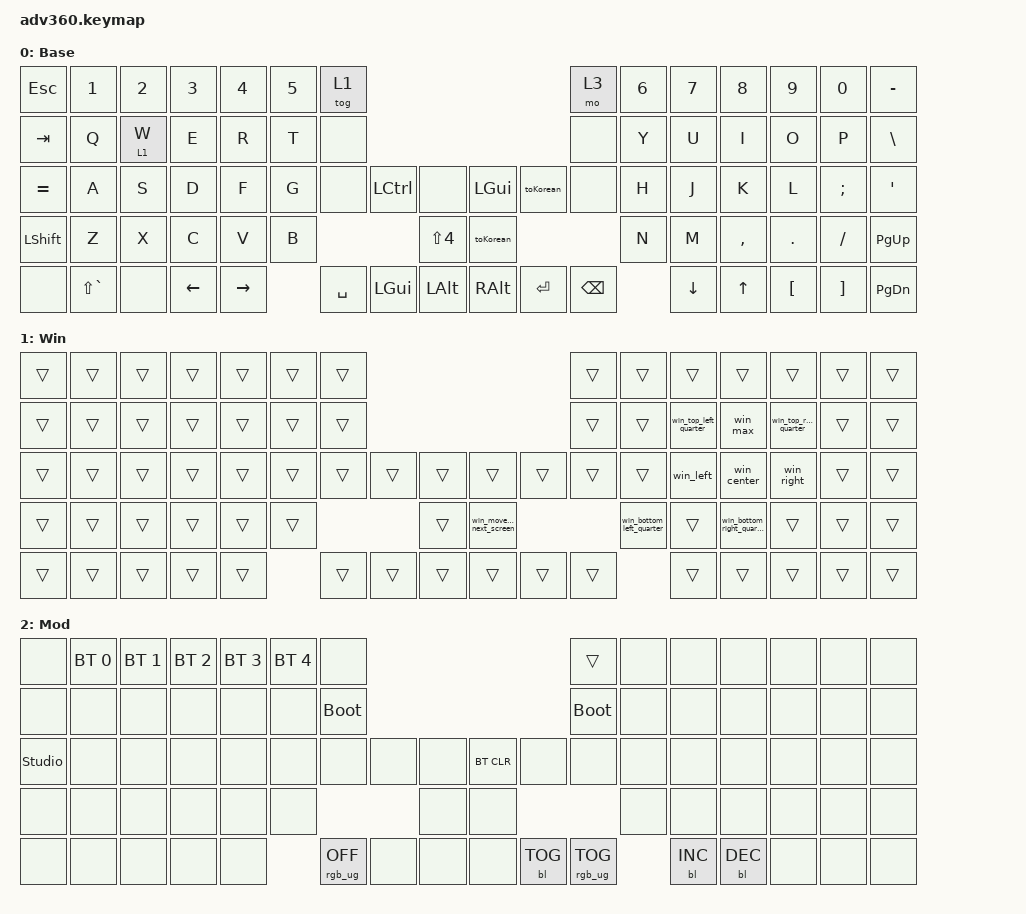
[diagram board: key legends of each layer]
#include <dt-bindings/zmk/stp.h>
#include <behaviors.dtsi>
#include <dt-bindings/zmk/backlight.h>
#include <dt-bindings/zmk/bt.h>
#include <dt-bindings/zmk/keys.h>
#include <dt-bindings/zmk/rgb.h>

/* Layout mirrored from Glove80 (Base + Windows layers).
 * The Glove80 top row (ESC/1-4 | F14/F15/media) is dropped;
 * its number row becomes the Adv360 top row.
 *
 * Mod layer (index 3, from stock) restored: hold &mo 3 on the top-center-right
 * key; top-center-left key is &tog 1 (toggles the Win layer).
 *
 * Thumb clusters (both keyboards have 6 keys per hand, mapped by position):
 *   left:  T1=$ -> inner-mid, T2=LCTRL -> mid-upper, T3=lower -> dropped (inner-upper, &none),
 *          T4=SPACE -> outer big, T5=LGUI -> mid-lower, T6=LALT -> inner-lower
 *   right: T1=toKorean -> inner-mid, T2=RCTRL -> mid-upper, T3=LGUI -> inner-upper,
 *          T4=BSPC -> outer big, T5=RET -> mid-lower, T6=RALT -> inner-lower
 */

/ {
    behaviors {
        #include "macros.dtsi"
      #include "version.dtsi"
    };

    macros {
        toKorean: toKorean {
            label = "toKorean";
            compatible = "zmk,behavior-macro";
            #binding-cells = <0>;
            bindings =
                <&macro_press>,
                <&kp LEFT_COMMAND>,
                <&macro_tap>,
                <&kp RIGHT>,
                <&macro_release>,
                <&kp LEFT_COMMAND>;
        };

        win_left: win_left {
            label = "win_left";
            compatible = "zmk,behavior-macro";
            #binding-cells = <0>;
            bindings =
                <&macro_press>,
                <&kp LEFT_COMMAND &kp LALT>,
                <&macro_tap>,
                <&kp LEFT>,
                <&macro_release>,
                <&kp LEFT_COMMAND &kp LALT>;
        };

        win_right: win_right {
            label = "win_right";
            compatible = "zmk,behavior-macro";
            #binding-cells = <0>;
            bindings =
                <&macro_press>,
                <&kp LEFT_COMMAND &kp LALT>,
                <&macro_tap>,
                <&kp RIGHT>,
                <&macro_release>,
                <&kp LEFT_COMMAND &kp LALT>;
        };

        win_center: win_center {
            label = "win_center";
            compatible = "zmk,behavior-macro";
            #binding-cells = <0>;
            bindings =
                <&macro_press>,
                <&kp LEFT_COMMAND &kp LALT>,
                <&macro_tap>,
                <&kp DOWN>,
                <&macro_release>,
                <&kp LEFT_COMMAND &kp LALT>;
        };

        win_max: win_max {
            label = "win_max";
            compatible = "zmk,behavior-macro";
            #binding-cells = <0>;
            bindings =
                <&macro_press>,
                <&kp LEFT_COMMAND &kp LALT>,
                <&macro_tap>,
                <&kp UP>,
                <&macro_release>,
                <&kp LEFT_COMMAND &kp LALT>;
        };

        win_top_left_quarter: win_top_left_quarter {
            label = "win_top_left_quarter";
            compatible = "zmk,behavior-macro";
            #binding-cells = <0>;
            bindings =
                <&macro_press>,
                <&kp LEFT_COMMAND &kp LALT>,
                <&macro_tap>,
                <&kp Q>,
                <&macro_release>,
                <&kp LEFT_COMMAND &kp LALT>;
        };

        win_top_right_quarter: win_top_right_quarter {
            label = "win_top_right_quarter";
            compatible = "zmk,behavior-macro";
            #binding-cells = <0>;
            bindings =
                <&macro_press>,
                <&kp LEFT_COMMAND &kp LALT>,
                <&macro_tap>,
                <&kp W>,
                <&macro_release>,
                <&kp LEFT_COMMAND &kp LALT>;
        };

        win_bottom_left_quarter: win_bottom_left_quarter {
            label = "win_bottom_left_quarter";
            compatible = "zmk,behavior-macro";
            #binding-cells = <0>;
            bindings =
                <&macro_press>,
                <&kp LEFT_COMMAND &kp LALT>,
                <&macro_tap>,
                <&kp Z>,
                <&macro_release>,
                <&kp LEFT_COMMAND &kp LALT>;
        };

        win_bottom_right_quarter: win_bottom_right_quarter {
            label = "win_bottom_right_quarter";
            compatible = "zmk,behavior-macro";
            #binding-cells = <0>;
            bindings =
                <&macro_press>,
                <&kp LEFT_COMMAND &kp LALT>,
                <&macro_tap>,
                <&kp X>,
                <&macro_release>,
                <&kp LEFT_COMMAND &kp LALT>;
        };

        win_move_to_next_screen: win_move_to_next_screen {
            label = "win_move_to_next_screen";
            compatible = "zmk,behavior-macro";
            #binding-cells = <0>;
            bindings =
                <&macro_press>,
                <&kp LEFT_COMMAND &kp LALT>,
                <&macro_tap>,
                <&kp N>,
                <&macro_release>,
                <&kp LEFT_COMMAND &kp LALT>;
        };
    };

    keymap {
        compatible = "zmk,keymap";

        default_layer {
            display-name = "Base";
            bindings = <
&kp ESC    &kp N1         &kp N2   &kp N3    &kp N4     &kp N5  &tog 1                                                      &mo 3     &kp N6  &kp N7    &kp N8     &kp N9    &kp N0    &kp MINUS
&kp TAB    &kp Q          &lt 1 W  &kp E     &kp R      &kp T   &none                                                       &none     &kp Y   &kp U     &kp I      &kp O     &kp P     &kp BSLH
&kp EQUAL  &kp A          &kp S    &kp D     &kp F      &kp G   &none      &kp LCTRL  &none           &kp LGUI   &toKorean  &none     &kp H   &kp J     &kp K      &kp L     &kp SEMI  &kp SQT
&kp LSHFT  &kp Z          &kp X    &kp C     &kp V      &kp B                         &kp LS(N4)      &toKorean                       &kp N   &kp M     &kp COMMA  &kp DOT   &kp FSLH  &kp PG_UP
&none      &kp LS(GRAVE)  &none    &kp LEFT  &kp RIGHT          &kp SPACE  &kp LGUI   &kp LALT        &kp RALT   &kp RET    &kp BSPC          &kp DOWN  &kp UP     &kp LBKT  &kp RBKT  &kp PG_DN
            >;
        };

        windows_layer {
            display-name = "Win";
            bindings = <
&trans  &trans  &trans  &trans  &trans  &trans  &trans                                                        &trans  &trans                    &trans                 &trans                     &trans                  &trans  &trans
&trans  &trans  &trans  &trans  &trans  &trans  &trans                                                        &trans  &trans                    &win_top_left_quarter  &win_max                   &win_top_right_quarter  &trans  &trans
&trans  &trans  &trans  &trans  &trans  &trans  &trans  &trans  &trans      &trans                    &trans  &trans  &trans                    &win_left              &win_center                &win_right              &trans  &trans
&trans  &trans  &trans  &trans  &trans  &trans                  &trans      &win_move_to_next_screen                  &win_bottom_left_quarter  &trans                 &win_bottom_right_quarter  &trans                  &trans  &trans
&trans  &trans  &trans  &trans  &trans          &trans  &trans  &trans      &trans                    &trans  &trans                            &trans                 &trans                     &trans                  &trans  &trans
            >;
        };

        extra1 {
            display-name = "Red";
            status = "reserved";
        };

        mod {
            display-name = "Mod";
            bindings = <
&none           &bt BT_SEL 0  &bt BT_SEL 1  &bt BT_SEL 2  &bt BT_SEL 3  &bt BT_SEL 4  &none                                                      &trans           &none  &none       &none       &none  &none  &none
&none           &none         &none         &none         &none         &none         &bootloader                                                &bootloader      &none  &none       &none       &none  &none  &none
&studio_unlock  &none         &none         &none         &none         &none         &none            &none  &none      &bt BT_CLR  &none       &none            &none  &none       &none       &none  &none  &none
&none           &none         &none         &none         &none         &none                                 &none      &none                                    &none  &none       &none       &none  &none  &none
&none           &none         &none         &none         &none                       &rgb_ug RGB_OFF  &none  &none      &none       &bl BL_TOG  &rgb_ug RGB_TOG         &bl BL_INC  &bl BL_DEC  &none  &none  &none
            >;
        };

        extra2 {
            display-name = "Purple";
            status = "reserved";
        };

        extra3 {
            display-name = "Cyan";
            status = "reserved";
        };

        extra4 {
            display-name = "Yellow";
            status = "reserved";
        };
    };
};
